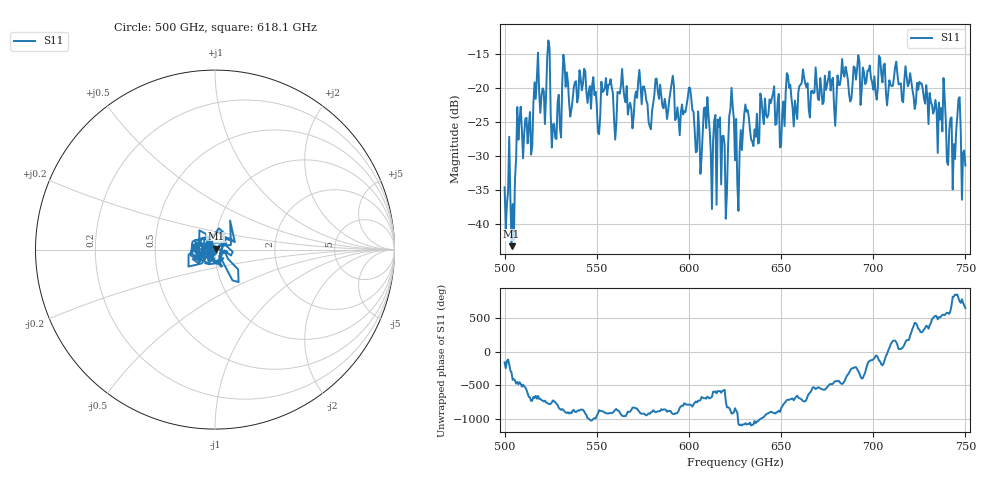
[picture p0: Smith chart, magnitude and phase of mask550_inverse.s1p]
!Created with skrf (http://scikit-rf.org).
# GHz S MA R 50.0
!freq magS11 angS11
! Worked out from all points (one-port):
!   401 points, 500 GHz to 750 GHz, reference 50 ohm
!   lowest |S11| = -43.2 dB at 503.8 GHz (marker M1), VSWR 1.01, Z = 50.4 + j0.528 ohm
!   |S11| at or under -10 dB: start of sweep to end of sweep
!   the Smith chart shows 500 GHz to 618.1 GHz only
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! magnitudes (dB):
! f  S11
! 500 GHz  -34.6
! 503.8 GHz  -43.2
! 505 GHz  -42.3
! 507.5 GHz  -27.6
! 513.8 GHz  -23.5
! 516.9 GHz  -21.6
! 523.8 GHz  -13.0
! 526.9 GHz  -25.3
! 531.2 GHz  -19.4
! 562.5 GHz  -20.8
! 578.8 GHz  -25.7
! 590.6 GHz  -19.4
! 593.8 GHz  -22.8
! 600.6 GHz  -20.0
! 605.6 GHz  -26.1
! 609.4 GHz  -25.9
! 620 GHz  -39.2
! 623.1 GHz  -20.0
! 625 GHz  -30.6
! 627.5 GHz  -29.3
! 631.2 GHz  -23.5
! 635 GHz  -28.5
! 656.2 GHz  -23.0
! 687.5 GHz  -22.0
! 718.8 GHz  -19.7
! 743.8 GHz  -28.2
! 746.2 GHz  -21.6
! 750 GHz  -31.4
